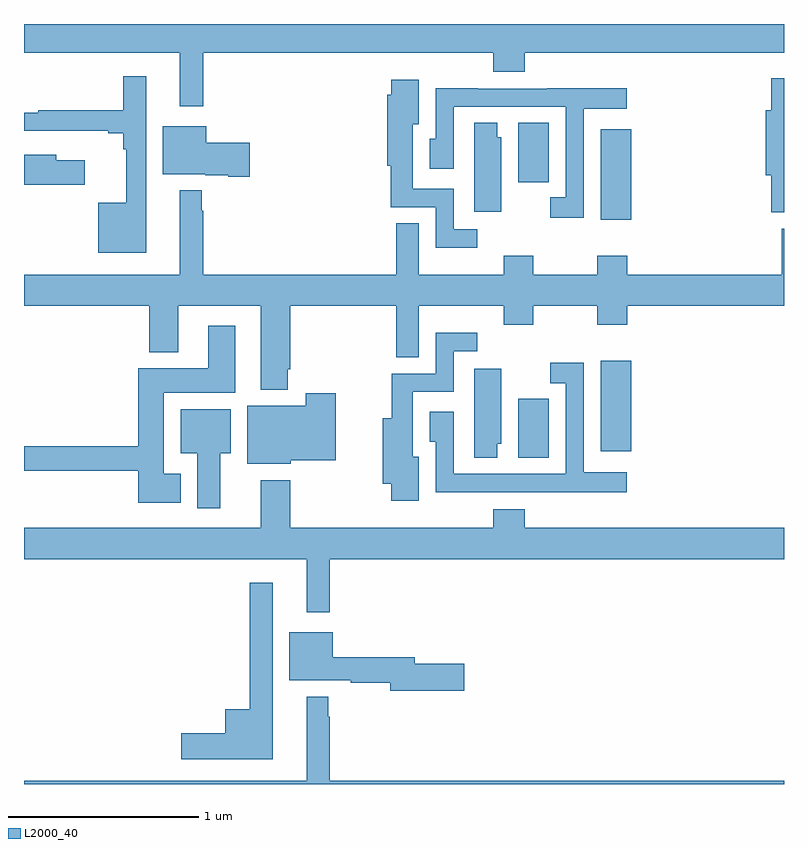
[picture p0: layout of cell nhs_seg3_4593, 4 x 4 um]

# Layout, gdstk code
import gdstk
lib = gdstk.Library(unit=1e-6, precision=1e-09)
def R(c, l, rs):  # rectangles x0, y0, x1, y1
    for r in rs: c.add(gdstk.rectangle(r[:2], r[2:], *l))
def P(c, l, *ps):  # polygons
    for p in ps: c.add(gdstk.Polygon(p, *l))
L2000_40 = (2000, 40)

nhs_seg3_4593 = lib.new_cell('nhs_seg3_4593')
R(nhs_seg3_4593, L2000_40, [(359.6,700.117,359.761,700.428), (360.035,700.152,360.196,700.627), (360.035,701.37,360.196,701.845), (359.6,701.568,359.761,701.879)])
P(nhs_seg3_4593, L2000_40, [(357.943,702.248),(359.471,702.248),(359.471,702.149),(359.636,702.149),(359.636,702.248),(361,702.248),(361,702.4),(357,702.4),(357,702.248),(357.821,702.248),(357.821,701.967),(357.943,701.967)],
  [(357.643,702.124),(357.522,702.124),(357.522,701.947),(357.076,701.947),(357.076,701.934),(357,701.934),(357,701.838),(357.443,701.838),(357.443,701.826),(357.522,701.826),(357.522,701.741),(357.539,701.741),(357.539,701.458),(357.392,701.458),(357.392,701.195),(357.643,701.195)],
  [(361,702.115),(360.932,702.115),(360.932,701.947),(360.905,701.947),(360.905,701.603),(360.932,701.603),(360.932,701.408),(361,701.408)],
  [(359.386,701.319),(359.262,701.319),(359.262,701.532),(359.047,701.532),(359.047,701.873),(359.077,701.873),(359.077,702.106),(358.934,702.106),(358.934,702.027),(358.913,702.027),(358.913,701.655),(358.929,701.655),(358.929,701.436),(359.166,701.436),(359.166,701.222),(359.386,701.222)],
  [(359.946,701.954),(360.172,701.954),(360.172,702.062),(359.753,702.062),(359.753,702.06),(359.387,702.06),(359.387,702.062),(359.166,702.062),(359.166,701.796),(359.135,701.796),(359.135,701.637),(359.262,701.637),(359.262,701.964),(359.85,701.964),(359.85,701.487),(359.769,701.487),(359.769,701.379),(359.946,701.379)],
  [(359.512,701.805),(359.491,701.805),(359.491,701.879),(359.369,701.879),(359.369,701.412),(359.512,701.412)],
  [(358.189,701.775),(357.958,701.775),(357.958,701.863),(357.731,701.863),(357.731,701.609),(357.954,701.609),(357.954,701.603),(358.076,701.603),(358.076,701.597),(358.189,701.597)],
  [(357.319,701.683),(357.169,701.683),(357.169,701.712),(357,701.712),(357,701.554),(357.319,701.554)],
  [(358.387,700.582),(358.4,700.582),(358.4,700.916),(358.959,700.916),(358.959,700.645),(359.077,700.645),(359.077,700.916),(359.524,700.916),(359.524,700.817),(359.679,700.817),(359.679,700.916),(360.016,700.916),(360.016,700.817),(360.176,700.817),(360.176,700.916),(361,700.916),(361,701.323),(360.989,701.323),(360.989,701.08),(360.176,701.08),(360.176,701.179),(360.016,701.179),(360.016,701.08),(359.679,701.08),(359.679,701.179),(359.524,701.179),(359.524,701.08),(359.077,701.08),(359.077,701.351),(358.959,701.351),(358.959,701.08),(357.943,701.08),(357.943,701.417),(357.935,701.417),(357.935,701.524),(357.821,701.524),(357.821,701.08),(357,701.08),(357,700.916),(357.659,700.916),(357.659,700.673),(357.811,700.673),(357.811,700.916),(358.247,700.916),(358.247,700.475),(358.387,700.475)],
  [(357.826,700.033),(357.736,700.033),(357.736,700.46),(358.111,700.46),(358.111,700.813),(357.971,700.813),(357.971,700.588),(357.602,700.588),(357.602,700.178),(357,700.178),(357,700.05),(357.602,700.05),(357.602,699.881),(357.826,699.881)],
  [(359.077,700.123),(359.047,700.123),(359.047,700.464),(359.262,700.464),(359.262,700.677),(359.386,700.677),(359.386,700.774),(359.166,700.774),(359.166,700.56),(358.936,700.56),(358.936,700.324),(358.889,700.324),(358.889,699.98),(358.934,699.98),(358.934,699.891),(359.077,699.891)],
  [(359.387,699.936),(359.753,699.936),(359.753,699.935),(360.172,699.935),(360.172,700.042),(359.946,700.042),(359.946,700.618),(359.769,700.618),(359.769,700.509),(359.85,700.509),(359.85,700.032),(359.262,700.032),(359.262,700.36),(359.135,700.36),(359.135,700.201),(359.166,700.201),(359.166,699.935),(359.387,699.935)],
  [(359.491,700.191),(359.512,700.191),(359.512,700.585),(359.369,700.585),(359.369,700.117),(359.491,700.117)],
  [(358.404,700.103),(358.642,700.103),(358.642,700.456),(358.484,700.456),(358.484,700.39),(358.175,700.39),(358.175,700.085),(358.404,700.085)],
  [(358.033,700.142),(358.087,700.142),(358.087,700.372),(357.824,700.372),(357.824,700.142),(357.911,700.142),(357.911,699.852),(358.033,699.852)],
  [(358.609,699.584),(361,699.584),(361,699.748),(359.636,699.748),(359.636,699.847),(359.471,699.847),(359.471,699.748),(358.4,699.748),(358.4,700),(358.247,700),(358.247,699.748),(357,699.748),(357,699.584),(358.487,699.584),(358.487,699.303),(358.609,699.303)],
  [(358.309,699.46),(358.188,699.46),(358.188,698.794),(358.058,698.794),(358.058,698.666),(357.828,698.666),(357.828,698.531),(358.309,698.531)],
  [(359.317,699.032),(359.056,699.032),(359.056,699.068),(358.624,699.068),(358.624,699.199),(358.397,699.199),(358.397,698.945),(358.72,698.945),(358.72,698.932),(358.928,698.932),(358.928,698.89),(359.317,698.89)],
  [(361,698.416),(358.609,698.416),(358.609,698.753),(358.602,698.753),(358.602,698.86),(358.487,698.86),(358.487,698.416),(357,698.416),(357,698.4),(361,698.4)])

lib.write_gds('nhs_seg3_4593.gds')
